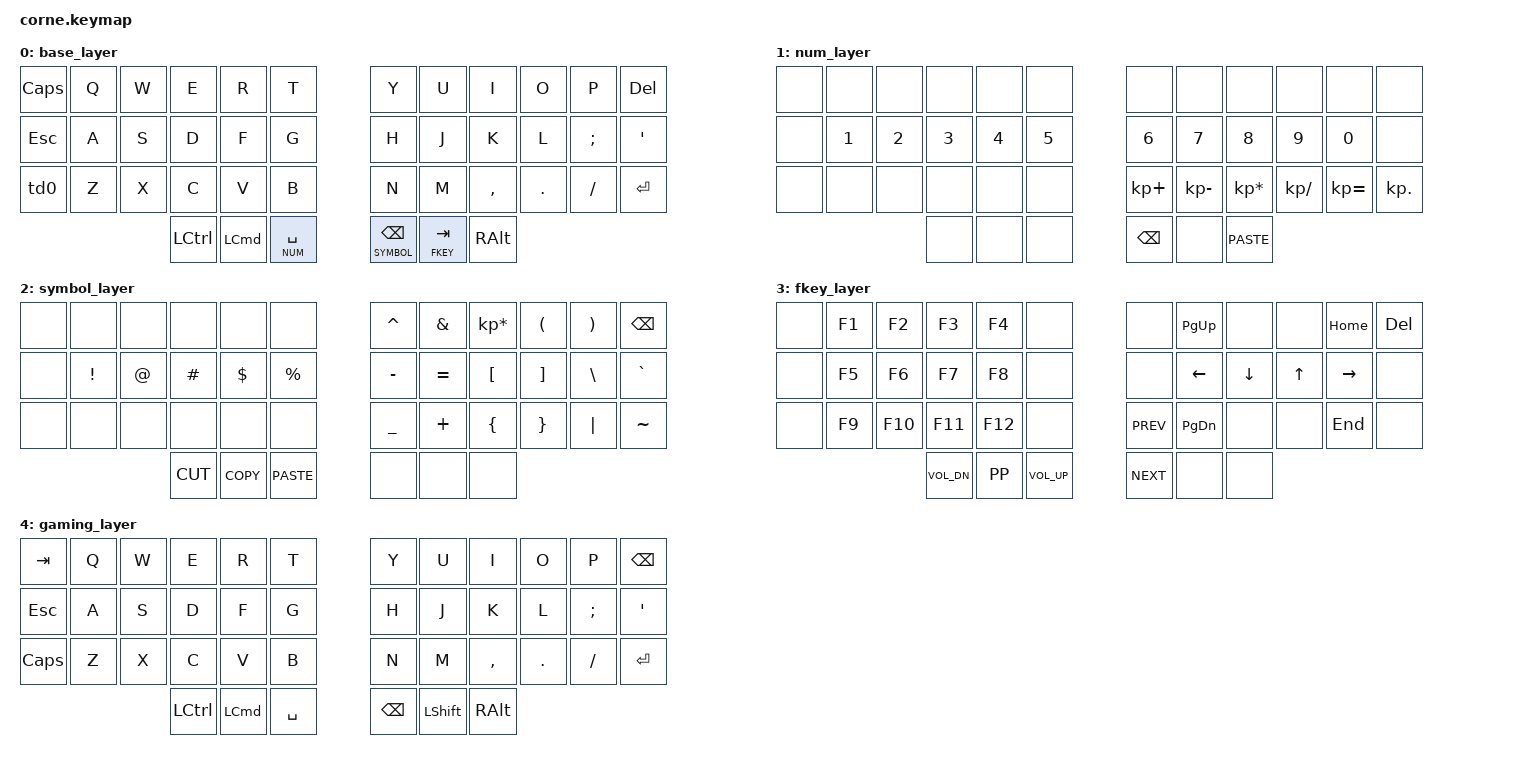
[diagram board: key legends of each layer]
/*
 * Copyright (c) 2020 The ZMK Contributors
 *
 * SPDX-License-Identifier: MIT
 */

#include <behaviors.dtsi>
#include <dt-bindings/zmk/keys.h>
#include <dt-bindings/zmk/bt.h>

#define BASE   0
#define NUM    1
#define SYMBOL 2
#define FKEY   3
#define GAMING 4
// #define SYS    5
// #define MOUSE  6

#define XXX &none
#define ___ &trans

#define QUICK_TAP_MS 175

// IDEAS-
// -add layer for wireless functionality (or make combos for them)
// -add "magic" button that has a hotkey for each program
// -make thumb mods repeat when tapped then held (tap = 1 space, hold = layer, tap -> hold = repeating spaces)
// -consider making num layer a numpad instead of on home row
// -consider adding more combos (maybe to its own combos.dtsi file)
// -tweak mod-tap and layer-tap configs to my liking
// -add a miryoku keymap to the repo
//   MACROS
//     -turbo click
//     -types ../ for up directory
//     -Coding syntax patterns ===, ::, ->, =>, etc.
//     -Typing () (or [] or {}) and then a left tap to position the cursor inside.
//     -"Select line" macro (through tapping Home, Shift+End) and other editor hotkey use for Vim-like actions.
//     -Do a web search for the current selection (Ctrl+C, Ctrl+T, Ctrl+V, Enter).
//     -Typing emojis.


// Links-
// https://www.reddit.com/r/ErgoMechKeyboards/comments/zfomr0/whats_your_favorite_feature_you_implemented_on/
// https://github.com/urob/zmk-config/blob/main/config/base.keymap
// https://www.reddit.com/r/ErgoMechKeyboards/comments/qzfiae/my_impressions_on_miryoku_36_key_layout_system/
// https://www.reddit.com/r/ErgoMechKeyboards/comments/r3pe0t/what_macros_do_you_use_in_your_keymaps/

// layer-tap config
&lt {  
    flavor = "balanced";
    tapping-term-ms = <200>;
    quick-tap-ms = <QUICK_TAP_MS>;
};

// mod-tap config
&mt {
    flavor = "tap-preferred";
    tapping-term-ms = <220>;
    quick-tap-ms = <QUICK_TAP_MS>;
    hold-trigger-key-positions = <0>;
};

/ {
    behaviors {
        // Tap or hold left shift for shift, tap for caps lock
        td0: tap_dance_shift_lock {
            compatible = "zmk,behavior-tap-dance";
            label = "TAP_DANCE_0";
            #binding-cells = <0>;
            tapping-term-ms = <200>;
            bindings = <&kp LSHFT>, <&kp CAPSLOCK>;
        };
    };

     macros {
        // Combo __, __ & __ to rapid-fire the left mouse button. Repeat combo to turn off.
        turbo_click: turbo_click {
            label = "ZM_turbo_click";
            compatible = "zmk,behavior-macro";
            #binding-cells = <0>;
            bindings
                = <&macro_press &kp LSHFT>, <&macro_tap &kp Z &kp M &kp K>, <&macro_release &kp LSHFT>;
        };
    };
    
    combos {
        compatible = "zmk,combos";

        // J + K = ESC
        combo_jk_esc {
            timeout-ms = <50>;
            layers = <0>;
            key-positions = <19 20>;
            bindings = <&kp ESC>;
        };

        // In base layer, press east bottom 3 keys to switch to gaming
        combo_switch_to_gaming {
            timeout-ms = <50>;
            layers = <0>;
            key-positions = <39 40 41>;
            bindings = <&to 4>;
        };

        // In gaming layer, press east bottom 3 keys to switch to base
        combo_switch_to_base {
            timeout-ms = <50>;
            layers = <4>;
            key-positions = <39 40 41>;
            bindings = <&to 0>;
        };
    };

    keymap {
        compatible = "zmk,keymap";

        base_layer {
// -----------------------------------------------------------------------------------------
//      | CAPS |  Q  |  W  |  E  |  R  |  T  |     |  Y  |  U   |  I  |  O  |  P  | DEL  |
//      | ESC  |  A  |  S  |  D  |  F  |  G  |     |  H  |  J   |  K  |  L  |  ;  |  '   |
// | SHFT/CAPS |  Z  |  X  |  C  |  V  |  B  |     |  N  |  M   |  ,  |  .  |  /  | ENTR |
//                      | CTRL | CMD | SPACE |     | BSPC | SHFT | ALT |
        bindings = <
   &kp CAPS &kp Q &kp W &kp E &kp R &kp T &kp Y     &kp U &kp I     &kp O   &kp P    &kp DEL
   &kp ESC  &kp A &kp S &kp D &kp F &kp G &kp H     &kp J &kp K     &kp L   &kp SEMI &kp SQT
   &td0     &kp Z &kp X &kp C &kp V &kp B &kp N     &kp M &kp COMMA &kp DOT &kp FSLH &kp RET
               &kp LCTRL &kp LCMD &lt NUM SPACE     &lt SYMBOL BSPC &lt FKEY TAB &kp RALT
            >;
        };

        num_layer {
// -----------------------------------------------------------------------------------------
// |   |   |   |   |   |   |    |   |   |   |   |   |   |
// |   | 1 | 2 | 3 | 4 | 5 |    | 6 | 7 | 8 | 9 | 0 |   |
// |   |   |   |   |   |   |    | + | - | * | / | = | . |
//           |   | MOD |   |    | BSPC |   |   |
            bindings = <
   XXX XXX    XXX    XXX    XXX    XXX        XXX         XXX          XXX             XXX           XXX          XXX
   XXX &kp N1 &kp N2 &kp N3 &kp N4 &kp N5     &kp N6      &kp N7       &kp N8          &kp N9        &kp N0       XXX
   XXX XXX    XXX    XXX    XXX    XXX        &kp KP_PLUS &kp KP_MINUS &kp KP_MULTIPLY &kp KP_DIVIDE &kp KP_EQUAL &kp KP_DOT
                              XXX XXX XXX     &kp BSPC XXX &kp K_PASTE
            >;
        };

        symbol_layer {
// -----------------------------------------------------------------------------------------
// |   |   |   |   |   |   |     |  ^  | & | * | ( | ) |   |
// |   | ! | @ | # | $ | % |     |  -  | = | [ | ] | \ | ` |
// |   |   |   |   |   |   |     |  _  | + | { | } | "|" | ~ |
//    | CUT | COPY | PASTE |     | MOD |   |   |
            bindings = <
   XXX XXX      XXX    XXX      XXX      XXX           &kp CARET &kp AMPS  &kp KP_ASTERISK &kp LPAR &kp RPAR &kp BSPC
   XXX &kp EXCL &kp AT &kp HASH &kp DLLR &kp PRCNT     &kp MINUS &kp EQUAL &kp LBKT        &kp RBKT &kp BSLH &kp GRAVE
   XXX XXX      XXX    XXX      XXX      XXX           &kp UNDER &kp PLUS  &kp LBRC        &kp RBRC &kp PIPE &kp TILDE
                  &kp K_CUT &kp K_COPY &kp K_PASTE     XXX XXX XXX
            >;
        };

        fkey_layer {
// -----------------------------------------------------------------------------------------
// |   | F1 | F2  | F3  | F4  |   |     |      | Pg Up  |   |   | Home | Del |
// |   | F5 | F6  | F7  | F8  |   |     |      |   ←    | ↓ | ↑ |  →   |   |
// |   | F9 | F10 | F11 | F12 |   |     | PREV | Pg Dwn |   |   | End  |   |
//             | VOL- | PP | VOL+ |     | NEXT |  MOD   |   |
            bindings = <
   XXX &kp F1 &kp F2  &kp F3  &kp F4  XXX     XXX        &kp PG_UP XXX      XXX    &kp HOME  &kp DEL
   XXX &kp F5 &kp F6  &kp F7  &kp F8  XXX     XXX        &kp LEFT  &kp DOWN &kp UP &kp RIGHT XXX
   XXX &kp F9 &kp F10 &kp F11 &kp F12 XXX     &kp K_PREV &kp PG_DN XXX      XXX    &kp END   XXX
       &kp K_VOL_DN &kp K_PP &kp K_VOL_UP     &kp K_NEXT XXX XXX
            >;
        };

        gaming_layer {
// -----------------------------------------------------------------------------------------
// | TAB  |  Q  |  W  |  E  |  R  |  T  |     |  Y  |  U   |  I  |  O  |  P  | BKSP |
// | ESC  |  A  |  S  |  D  |  F  |  G  |     |  H  |  J   |  K  |  L  |  ;  |  '   |
// | CAPS |  Z  |  X  |  C  |  V  |  B  |     |  N  |  M   |  ,  |  .  |  /  | ENTR |
//                 | CTRL | CMD | SPACE |    | BSPC | SHFT | ALT |
            bindings = <
   &kp TAB  &kp Q &kp W &kp E &kp R &kp T &kp Y     &kp U &kp I     &kp O   &kp P    &kp BSPC
   &kp ESC  &kp A &kp S &kp D &kp F &kp G &kp H     &kp J &kp K     &kp L   &kp SEMI &kp SQT
   &kp CAPS &kp Z &kp X &kp C &kp V &kp B &kp N     &kp M &kp COMMA &kp DOT &kp FSLH &kp RET
                   &kp LCTRL &kp LCMD &kp SPACE     &kp BSPC &kp LSHFT &kp RALT
            >;
        };
    };
};
